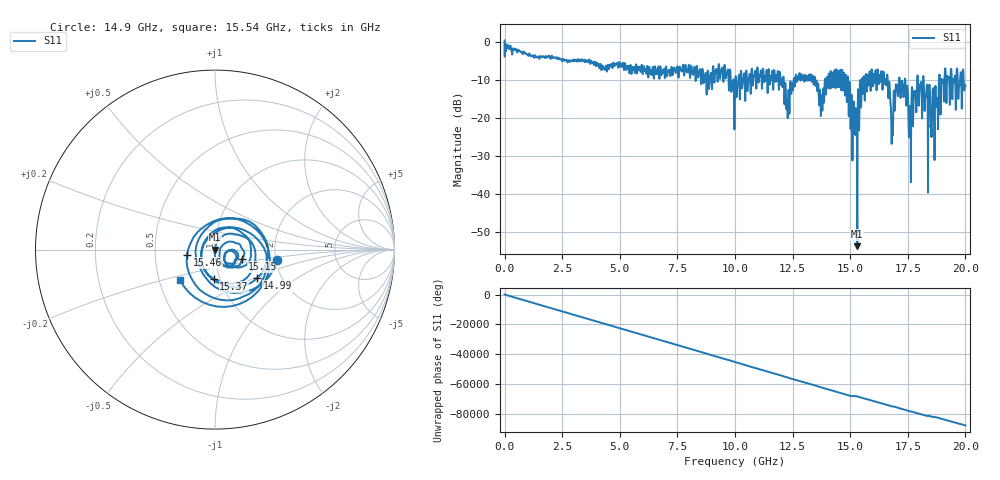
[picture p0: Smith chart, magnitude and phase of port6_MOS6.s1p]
! MS46122B
! 2250307/22442219
! 7/22/2025 7:49:47 AM
! C:\USERS\SPARKY\DOCUMENTS\VNA_DATA\JULY22_2025\3K\PORT6_MOS6.S1P
! CHANNEL.1
! TR.MEASUREMENT
! RAW.DATA
# GHZ S RI R 50.0
! FREQ.GHZ  S11RE  S11IM
!; PortSelection: Port_1
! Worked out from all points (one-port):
!   10001 points, 1 MHz to 20 GHz, reference 50 ohm
!   lowest |S11| = -53.6 dB at 15.31 GHz (marker M1), VSWR 1.00, Z = 49.8 - j0.0537 ohm
!   |S11| at or under -10 dB: 14.91 GHz to 15.43 GHz (521.1 MHz wide, 3.44 % of centre); 17.39 GHz to 17.9 GHz (512.4 MHz wide, 2.9 % of centre); 18.19 GHz to 18.85 GHz (661.2 MHz wide, 3.57 % of centre) (the widest 3 of 88)
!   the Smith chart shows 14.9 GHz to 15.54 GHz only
!   S11 on the Smith chart (normalised r, x): 14.9 GHz: 2.03, -0.26; 14.99 GHz: 1.51, -0.52; 15.15 GHz: 1.35, -0.14; 15.37 GHz: 0.93, -0.31; 15.46 GHz: 0.73, -0.04; 15.54 GHz: 0.64, -0.23
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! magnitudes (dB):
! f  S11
! 1 MHz  0.4
! 2.501 GHz  -5.0
! 5.001 GHz  -5.7
! 7.501 GHz  -6.4
! 9.481 GHz  -9.0
! 10 GHz  -12.0
! 11.78 GHz  -8.7
! 12.29 GHz  -18.9
! 12.5 GHz  -12.1
! 13.73 GHz  -19.5
! 14.9 GHz  -9.1
! 14.99 GHz  -10.9
! 15 GHz  -14.2
! 15.15 GHz  -15.9
! 15.31 GHz  -53.6
! 15.37 GHz  -15.7
! 15.46 GHz  -16.0
! 15.54 GHz  -11.8
! 16.27 GHz  -8.7
! 16.63 GHz  -9.7
! 16.84 GHz  -22.2
! 17.07 GHz  -14.0
! 17.5 GHz  -13.3
! 17.63 GHz  -36.8
! 17.99 GHz  -13.4
! 18.46 GHz  -13.5
! 19.05 GHz  -11.7
! 20 GHz  -11.5
